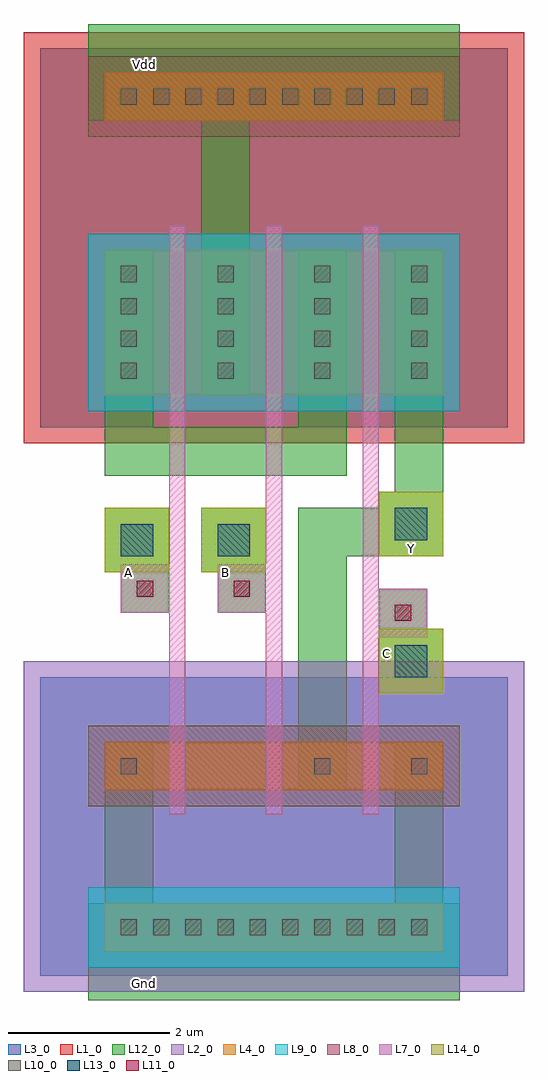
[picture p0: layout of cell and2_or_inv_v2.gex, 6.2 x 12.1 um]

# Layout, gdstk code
import gdstk
lib = gdstk.Library(unit=1e-6, precision=1e-09)
def R(c, l, rs):  # rectangles x0, y0, x1, y1
    for r in rs: c.add(gdstk.rectangle(r[:2], r[2:], *l))
def A(c, l, x, y, w, h, nx, ny, dx, dy):  # array of equal rectangles
    R(c, l, [(x+i*dx, y+j*dy, x+i*dx+w, y+j*dy+h) for i in range(nx) for j in range(ny)])
L1_0 = (1, 0)
L2_0 = (2, 0)
L3_0 = (3, 0)
L4_0 = (4, 0)
L7_0 = (7, 0)
L8_0 = (8, 0)
L9_0 = (9, 0)
L10_0 = (10, 0)
L11_0 = (11, 0)
L12_0 = (12, 0)
L13_0 = (13, 0)
L14_0 = (14, 0)

and2_or_inv_v2_gex = lib.new_cell('and2_or_inv_v2.gex')
R(and2_or_inv_v2_gex, L1_0, [(-0.8,6.9,5.4,12)])
R(and2_or_inv_v2_gex, L2_0, [(-0.8,0.1,5.4,4.2)])
R(and2_or_inv_v2_gex, L3_0, [(-0.6,0.3,5.2,4), (-0.6,7.1,5.2,11.8)])
R(and2_or_inv_v2_gex, L4_0, [(0.2,0.6,4.4,1.2), (0.2,2.6,4.4,3.2), (0.2,7.5,4.4,9.3), (3.8,7.5,4.4,9.3), (0.2,10.9,4.4,11.5)])
A(and2_or_inv_v2_gex, L7_0, 1, 2.3, 0.2, 7.3, 3, 1, 1.2, 0)
R(and2_or_inv_v2_gex, L7_0, [(3.6,4.5,4.2,5.1), (0.4,4.8,1,5.4), (1.6,4.8,2.2,5.4)])
R(and2_or_inv_v2_gex, L8_0, [(0,2.4,4.6,3.4), (0,10.7,4.6,11.7)])
R(and2_or_inv_v2_gex, L9_0, [(0,0.4,4.6,1.4), (0,7.3,4.6,9.5)])
A(and2_or_inv_v2_gex, L10_0, 0.4, 0.8, 0.2, 0.2, 10, 2, 0.4, 10.3)
A(and2_or_inv_v2_gex, L10_0, 0.4, 7.7, 0.2, 0.2, 4, 4, 1.2, 0.4)
R(and2_or_inv_v2_gex, L10_0, [(4,0.8,4.2,1), (0.4,2.8,0.6,3), (2.8,2.8,3,3), (4,2.8,4.2,3)])
R(and2_or_inv_v2_gex, L11_0, [(3.8,4.7,4,4.9), (0.6,5,0.8,5.2), (1.8,5,2,5.2)])
R(and2_or_inv_v2_gex, L12_0, [(0,0,4.6,1.2), (0.2,1.2,0.8,3.2), (3.8,1.2,4.4,3.2), (2.6,2.6,3.2,6.1), (3.6,3.8,4.4,4.6), (3.6,4.5,4.2,5.1), (0.4,4.8,1,5.4), (1.6,4.8,2.2,5.4), (0.2,5.3,1,6.1), (1.4,5.3,2.2,6.1), (3.2,5.5,3.6,6.1), (3.6,5.5,4.4,6.3), (3.8,6.3,4.4,9.3), (0.2,6.5,0.8,9.3), (0.8,6.5,2.6,7.1), (2.6,6.5,3.2,9.3), (1.4,7.5,2,10.9), (0,10.9,4.6,12.1)])
R(and2_or_inv_v2_gex, L13_0, [(3.8,4,4.2,4.4), (0.4,5.5,0.8,5.9), (1.6,5.5,2,5.9), (3.8,5.7,4.2,6.1)])
R(and2_or_inv_v2_gex, L14_0, [(3.6,3.8,4.4,4.6), (0.2,5.3,1,6.1), (1.4,5.3,2.2,6.1), (3.6,5.5,4.4,6.3)])
and2_or_inv_v2_gex.add(gdstk.Label('Vdd', (0.7,11.6), layer=12, texttype=0))
and2_or_inv_v2_gex.add(gdstk.Label('C', (3.7,4.3), layer=12, texttype=0))
and2_or_inv_v2_gex.add(gdstk.Label('Y', (4,5.6), layer=12, texttype=0))
and2_or_inv_v2_gex.add(gdstk.Label('B', (1.7,5.3), layer=12, texttype=0))
and2_or_inv_v2_gex.add(gdstk.Label('Gnd', (0.7,0.2), layer=12, texttype=0))
and2_or_inv_v2_gex.add(gdstk.Label('A', (0.5,5.3), layer=12, texttype=0))

lib.write_gds('and2_or_inv_v2.gex.gds')
